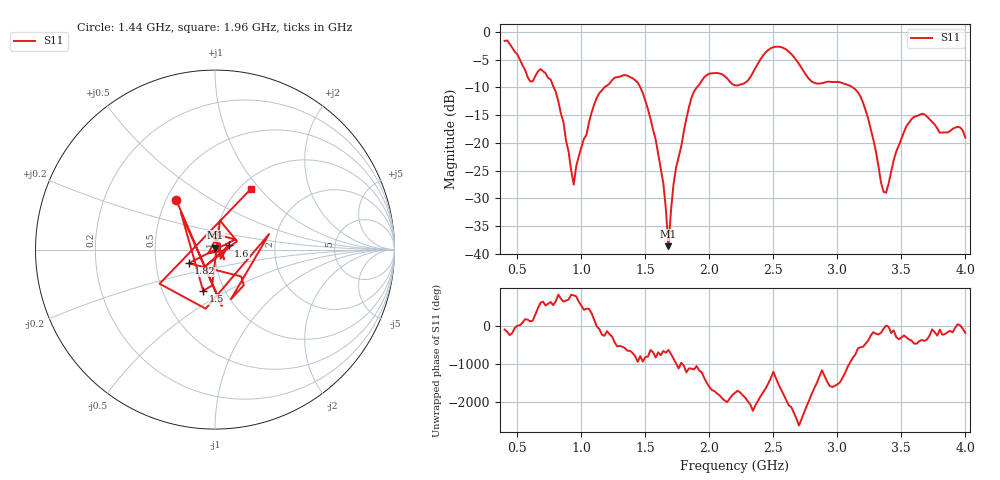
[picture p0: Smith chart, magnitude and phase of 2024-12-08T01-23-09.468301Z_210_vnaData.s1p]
!Created with skrf (http://scikit-rf.org).
# Hz S RI R 50.0
!freq ReS11 ImS11
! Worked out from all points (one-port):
!   181 points, 400 MHz to 4 GHz, reference 50 ohm
!   lowest |S11| = -38.6 dB at 1.68 GHz (marker M1), VSWR 1.02, Z = 50.2 + j1.16 ohm
!   |S11| at or under -10 dB: 783.6 MHz to 1.179 GHz (395.7 MHz wide, 40.3 % of centre); 1.46 GHz to 1.902 GHz (442.7 MHz wide, 26.3 % of centre); 3.119 GHz to end of sweep
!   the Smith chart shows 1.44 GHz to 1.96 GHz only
!   S11 on the Smith chart (normalised r, x): 1.44 GHz: 0.56, +0.35; 1.5 GHz: 0.79, -0.39; 1.6 GHz: 1.16, +0.05; 1.82 GHz: 0.74, -0.12; 1.96 GHz: 1.12, +0.89
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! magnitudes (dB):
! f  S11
! 400 MHz  -1.6
! 600 MHz  -8.9
! 680 MHz  -6.7
! 760 MHz  -8.6
! 860 MHz  -16.3
! 940 MHz  -27.5
! 1.12 GHz  -11.9
! 1.3 GHz  -8.1
! 1.44 GHz  -9.1
! 1.5 GHz  -12.4
! 1.6 GHz  -22.0
! 1.64 GHz  -27.3
! 1.68 GHz  -38.6
! 1.72 GHz  -27.4
! 1.76 GHz  -22.6
! 1.82 GHz  -15.6
! 1.88 GHz  -10.7
! 1.96 GHz  -8.2
! 2.2 GHz  -9.6
! 2.48 GHz  -3.0
! 2.66 GHz  -4.5
! 2.8 GHz  -9.0
! 3.1 GHz  -9.7
! 3.22 GHz  -14.1
! 3.36 GHz  -28.8
! 3.56 GHz  -16.3
! 3.66 GHz  -14.8
! 4 GHz  -19.1
